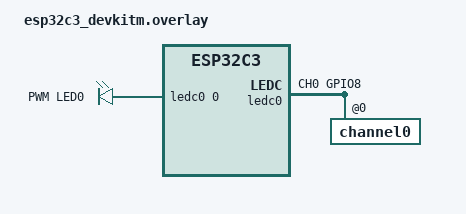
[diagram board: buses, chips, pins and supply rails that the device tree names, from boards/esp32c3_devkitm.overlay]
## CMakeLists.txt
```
# SPDX-License-Identifier: Apache-2.0

cmake_minimum_required(VERSION 3.20.0)

find_package(Zephyr REQUIRED HINTS $ENV{ZEPHYR_BASE})
project(hello_world)

target_sources(app PRIVATE src/consumer.c)

add_subdirectory(rust)
add_subdirectory("${PROJECT_SOURCE_DIR}/src/led_service")
```

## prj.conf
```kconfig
CONFIG_LOG=y
CONFIG_LOG_MODE_MINIMAL=y
CONFIG_HEAP_MEM_POOL_SIZE=1024
CONFIG_ZBUS=y
CONFIG_ZBUS_CHANNEL_NAME=y
CONFIG_ZBUS_RUNTIME_OBSERVERS_POOL_SIZE=5
```

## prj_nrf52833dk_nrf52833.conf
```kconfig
CONFIG_LOG=y
CONFIG_LOG_MODE_MINIMAL=y
CONFIG_HEAP_MEM_POOL_SIZE=1024
CONFIG_ZBUS=y
CONFIG_ZBUS_CHANNEL_NAME=y
CONFIG_ZBUS_RUNTIME_OBSERVERS_POOL_SIZE=5
CONFIG_FPU=y
CONFIG_THREAD_NAME=y
```

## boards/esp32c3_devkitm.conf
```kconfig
CONFIG_PWM=y
CONFIG_LED=y
CONFIG_PWM_LED_ESP32=y
```

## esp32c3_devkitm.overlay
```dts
/ {
     aliases {
             led0 = &myled0;
     };

     leds {
             compatible = "gpio-leds";
             myled0: led_0 {
                     gpios = <&gpio0 8 GPIO_ACTIVE_LOW>;
             };
     };
};
```

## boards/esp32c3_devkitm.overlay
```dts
/*
 * SPDX-License-Identifier: Apache-2.0
 *
 * Copyright (c) 2021 Andrei-Edward Popa
 * Copyright (c) 2022 Espressif Systems (Shanghai) Co., Ltd.
 */

#include <zephyr/dt-bindings/pwm/pwm.h>
#include <dt-bindings/pinctrl/esp32c3-pinctrl.h>

/ {
	aliases {
		pwm-0 = &ledc0;
		pwm-led0 = &pwm_led_blue;
	};

	pwmleds {
		compatible = "pwm-leds";
		pwm_led_blue: pwm_led_gpio0_8 {
			label = "PWM LED0";
			pwms = <&ledc0 0 1000 PWM_POLARITY_NORMAL>;
		};
	};
};

&pinctrl {
	ledc0_default: ledc0_default {
		group1 {
			pinmux = <LEDC_CH0_GPIO8>;
			output-enable;
		};
	};
};

&ledc0 {
	pinctrl-0 = <&ledc0_default>;
	pinctrl-names = "default";
	status = "okay";
	#address-cells = <1>;
	#size-cells = <0>;
	channel0@0 {
		reg = <0x0>;
		timer = <0>;
	};
};
```

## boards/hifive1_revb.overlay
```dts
/ {
	leds {
		compatible = "gpio-leds";
		led0: led_0 {
			gpios = <&gpio0 5 GPIO_ACTIVE_LOW>;
			label = "Green LED";
		};
	};

};
```

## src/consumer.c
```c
/*
 * Copyright (c) 2022 Rodrigo Peixoto <rodrigopex@gmail.com>
 * SPDX-License-Identifier: Apache-2.0
 */
#include "messages.h"

#include <zephyr/logging/log.h>
#include <zephyr/zbus/zbus.h>
LOG_MODULE_DECLARE(zbus, CONFIG_ZBUS_LOG_LEVEL);

ZBUS_SUBSCRIBER_DEFINE(consumer_sub, 4);

ZBUS_CHAN_DEFINE(ack_chan,	 /* Name */
		 struct ack_msg, /* Message type */

		 NULL,						      /* Validator */
		 NULL,						      /* User data */
		 ZBUS_OBSERVERS(c_listener, rust_listener, rust_sub), /* observers */
		 ZBUS_MSG_INIT(.sequence = 0)			      /* Initial value */
);

static void consumer_subscriber_thread(void)
{
	LOG_INF("C subscriber thread started!");

	const struct zbus_channel *chan;
	struct ack_msg ack = {.sequence = 0};
	while (!zbus_sub_wait(&consumer_sub, &chan, K_FOREVER)) {
		struct acc_msg acc;

		zbus_chan_read(chan, &acc, K_MSEC(500));
		LOG_INF("C subscriber --> Consuming data: Acc x=%d, y=%d, z=%d", acc.x, acc.y, acc.z);

		++ack.sequence;
		zbus_chan_pub(&ack_chan, &ack, K_MSEC(250));
	}
}

K_THREAD_DEFINE(consumer_thread_id, 512, consumer_subscriber_thread, NULL, NULL, NULL, 3, 0, 0);
```

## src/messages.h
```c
/*
 * Copyright (c) 2022 Rodrigo Peixoto <rodrigopex@gmail.com>
 * SPDX-License-Identifier: Apache-2.0
 */
#ifndef _MESSAGES_H_
#define _MESSAGES_H_
#include <stdint.h>

struct version_msg {
	uint8_t major;
	uint8_t minor;
	uint16_t build;
};

struct acc_msg {
	int x;
	int y;
	int z;
};

struct ack_msg {
	uint32_t sequence;
};

#endif /* _MESSAGES_H_ */
```
